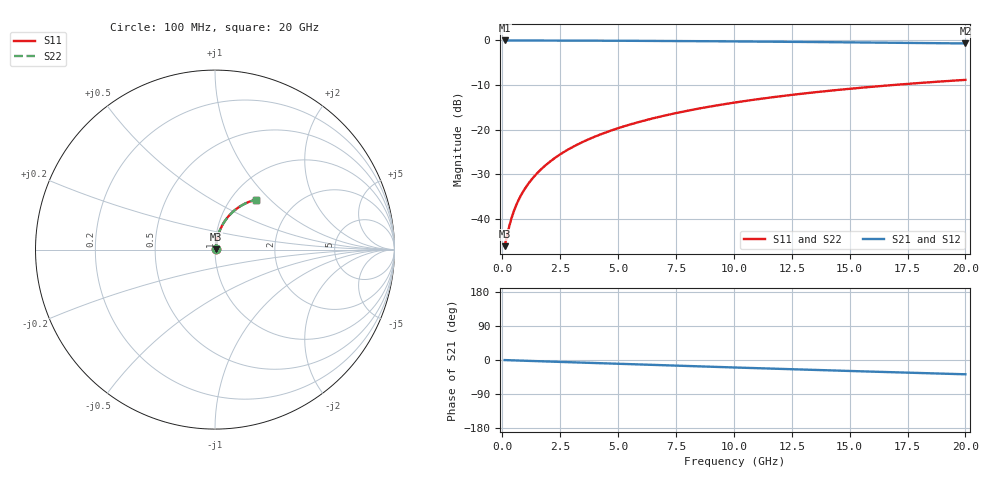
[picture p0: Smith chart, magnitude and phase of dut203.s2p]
! Touchstone file exported from HFSS 2026.1.0
!  File:  C:/ffzhzh/LocalFiles/Ansys_Project_Files/temp_train_TMRDL_203_1782984027_41620.aedt
!  Generated:  05:21:40 PM Jul  2, 2026
!  Design:  TMRDL
!  Project:  temp_train_TMRDL_203_1782984027_41620
! Variables:
!  h_bsmrdl = 2um
!  h_ox = 20um
!  h_rdl = 5um
!  h_sub = 80um
!  h_tmrdl = 2.34um
!  h_tsv = 80um
!  h_via = 3um
!  l_bsmrdl = 300um
!  l_sub = 931.86um
!  l_tmrdl = 531.86um
!  m_sub = 200um
!  pitch = 43.23um
!  r_tsv = 6um
!  s_tmrdl = 10um
!  w_bsmrdl = 18um
!  w_sub = 500um
!  w_tmrdl = 19.64um
!  x_tsv_center1 = 541.68um
!  x_tsv_center2 = 859.68um
!  x_tsv_center3 = 1411.18um
!  x_tsv_center4 = 1729.18um
!  x_tsv_center5 = 2280.68um
!  x_tsv_center6 = 2598.68um
# GHz S MA R 50.000000
! Terminal data exported
! Port[1] = TM_RDL1_1_T1
! Port[2] = TM_RDL1_1_T2
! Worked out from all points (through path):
!   200 points, 100 MHz to 20 GHz, reference 50 ohm
!   highest |S21| = -0.04 dB at 100 MHz (marker M1); lowest = -0.7 dB at 20 GHz (marker M2)
!   group delay of S21, straight-line fit = 5.25 ps
!   lowest |S11| = -46.1 dB at 100 MHz (marker M3), VSWR 1.01, Z = 50.4 + j0.231 ohm
!   |S11| at or under -10 dB: start of sweep to 16.94 GHz
!   |S22| runs from -46.1 to -8.9 dB; largest |S21 - S12| = 2.1e-15
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0.1  0.004931 27.7  0.9956 -0.2  0.9956 -0.2  0.004931 27.7
! Gamma 0 0 0 0
! Port Impedance 50 0 50 0
0.3  0.008221 55.5  0.9954 -0.6  0.9954 -0.6  0.008221 55.5
0.4  0.01018 61.5  0.9952 -0.8  0.9952 -0.8  0.01018 61.5
0.5  0.01217 65.4  0.9951 -1.0  0.9951 -1.0  0.01217 65.4
0.6  0.01418 68.1  0.9949 -1.2  0.9949 -1.2  0.01418 68.1
0.7  0.01618 70.1  0.9948 -1.4  0.9948 -1.4  0.01618 70.1
0.9  0.02019 72.9  0.9945 -1.8  0.9945 -1.8  0.02019 72.9
1.2  0.02623 75.4  0.9942 -2.4  0.9942 -2.4  0.02623 75.4
1.4  0.03027 76.5  0.994 -2.8  0.994 -2.8  0.03027 76.5
1.7  0.03636 77.5  0.9937 -3.4  0.9937 -3.4  0.03636 77.5
2.2  0.04656 78.4  0.9931 -4.4  0.9931 -4.4  0.04656 78.4
2.8  0.05882 78.6  0.9923 -5.6  0.9923 -5.6  0.05882 78.5
3.5  0.07311 78.2  0.9912 -7.0  0.9912 -7.0  0.07311 78.2
4.2  0.08733 77.5  0.9899 -8.4  0.9899 -8.4  0.08733 77.5
5  0.1035 76.4  0.9882 -10.0  0.9882 -10.0  0.1035 76.4
5.9  0.1215 75.0  0.9859 -11.8  0.9859 -11.8  0.1215 75.0
6.8  0.1392 73.6  0.9832 -13.5  0.9832 -13.5  0.1392 73.6
8.3  0.1682 71.0  0.9782 -16.4  0.9782 -16.4  0.1682 71.0
10.1  0.2018 67.8  0.9713 -19.9  0.9713 -19.9  0.2018 67.8
13.4  0.2598 61.9  0.9564 -26.1  0.9564 -26.1  0.2598 61.9
16.7  0.3127 56.1  0.9396 -32.0  0.9396 -32.0  0.3127 56.1
20  0.3601 50.6  0.9219 -37.7  0.9219 -37.7  0.3601 50.5
